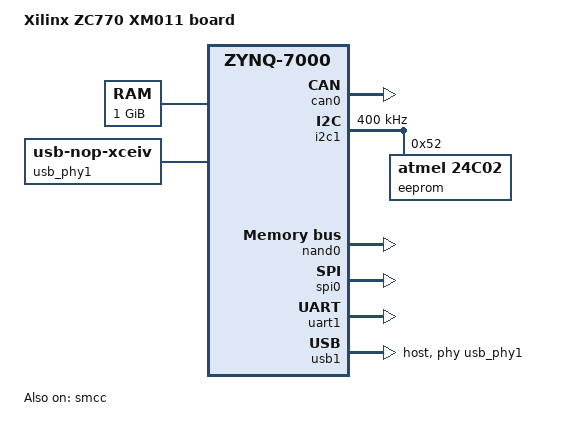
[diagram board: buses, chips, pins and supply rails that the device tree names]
// SPDX-License-Identifier: GPL-2.0+
/*
 * Xilinx ZC770 XM013 board DTS
 *
 * Copyright (C) 2013-2018 Xilinx, Inc.
 */
/dts-v1/;
#include "zynq-7000.dtsi"

/ {
	model = "Xilinx ZC770 XM011 board";
	compatible = "xlnx,zynq-zc770-xm011", "xlnx,zynq-7000";

	aliases {
		i2c0 = &i2c1;
		serial0 = &uart1;
		spi0 = &spi0;
	};

	chosen {
		bootargs = "";
		stdout-path = "serial0:115200n8";
	};

	memory@0 {
		device_type = "memory";
		reg = <0x0 0x40000000>;
	};

	usb_phy1: phy1 {
		compatible = "usb-nop-xceiv";
		#phy-cells = <0>;
	};
};

&can0 {
	status = "okay";
};

&i2c1 {
	status = "okay";
	clock-frequency = <400000>;

	eeprom: eeprom@52 {
		compatible = "atmel,24c02";
		reg = <0x52>;
	};
};

&nand0 {
	status = "okay";
	arm,nand-cycle-t0 = <0x4>;
	arm,nand-cycle-t1 = <0x4>;
	arm,nand-cycle-t2 = <0x1>;
	arm,nand-cycle-t3 = <0x2>;
	arm,nand-cycle-t4 = <0x2>;
	arm,nand-cycle-t5 = <0x2>;
	arm,nand-cycle-t6 = <0x4>;

	partition@nand-fsbl-uboot {
		label = "nand-fsbl-uboot";
		reg = <0x0 0x100000>;
	};
	partition@nand-linux {
		label = "nand-linux";
		reg = <0x100000 0x500000>;
	};
	partition@nand-device-tree {
		label = "nand-device-tree";
		reg = <0x600000 0x20000>;
	};
	partition@nand-rootfs {
		label = "nand-rootfs";
		reg = <0x620000 0x5E0000>;
	};
	partition@nand-bitstream {
		label = "nand-bitstream";
		reg = <0xC00000 0x400000>;
	};
};

&smcc {
	status = "okay";
	arm,addr25 = <0x0>;
	arm,nor-chip-sel0 = <0x0>;
	arm,nor-chip-sel1 = <0x0>;
	arm,sram-chip-sel0 = <0x0>;
	arm,sram-chip-sel1 = <0x0>;
};

&spi0 {
	status = "okay";
	num-cs = <4>;
	is-decoded-cs = <0>;
};

&uart1 {
	u-boot,dm-pre-reloc;
	status = "okay";
};

&usb1 {
	status = "okay";
	dr_mode = "host";
	usb-phy = <&usb_phy1>;
};
